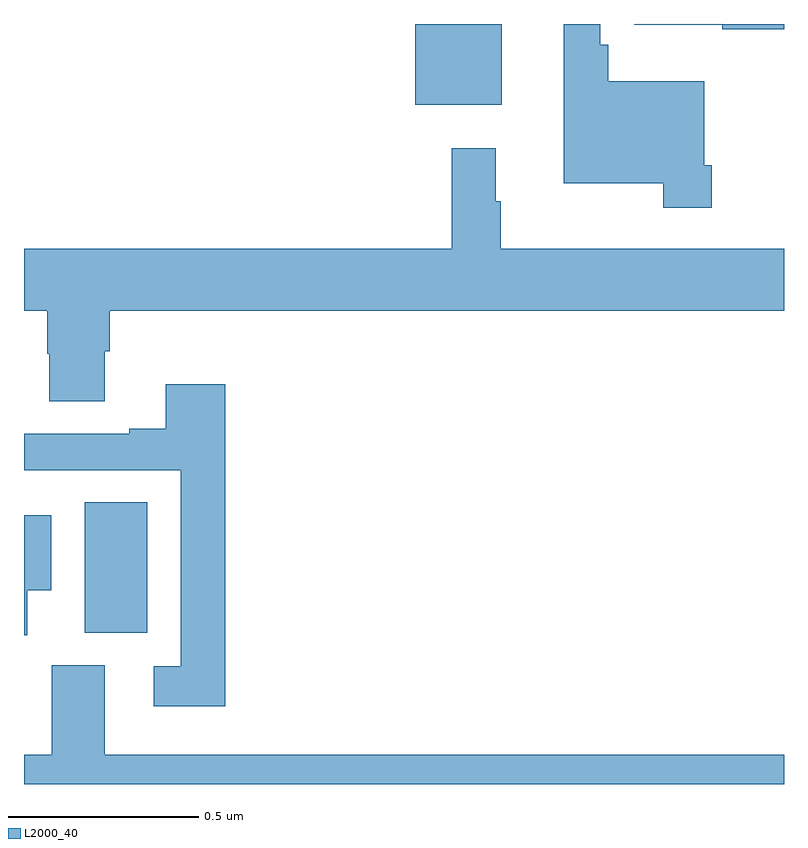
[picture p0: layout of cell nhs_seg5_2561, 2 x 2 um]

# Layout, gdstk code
import gdstk
lib = gdstk.Library(unit=1e-6, precision=1e-09)
def R(c, l, rs):  # rectangles x0, y0, x1, y1
    for r in rs: c.add(gdstk.rectangle(r[:2], r[2:], *l))
def P(c, l, *ps):  # polygons
    for p in ps: c.add(gdstk.Polygon(p, *l))
L2000_40 = (2000, 40)

nhs_seg5_2561 = lib.new_cell('nhs_seg5_2561')
R(nhs_seg5_2561, L2000_40, [(145.16,905.197,145.324,905.54), (146.03,906.587,146.257,906.799)])
P(nhs_seg5_2561, L2000_40, [(147,906.799),(146.606,906.799),(146.606,906.797),(146.838,906.797),(146.838,906.785),(147,906.785)],
  [(146.81,906.427),(146.79,906.427),(146.79,906.649),(146.537,906.649),(146.537,906.745),(146.517,906.745),(146.517,906.799),(146.42,906.799),(146.42,906.38),(146.682,906.38),(146.682,906.315),(146.81,906.315)],
  [(145.213,905.938),(145.226,905.938),(145.226,906.044),(147,906.044),(147,906.208),(146.254,906.208),(146.254,906.332),(146.242,906.332),(146.242,906.472),(146.125,906.472),(146.125,906.208),(145,906.208),(145,906.044),(145.061,906.044),(145.061,905.931),(145.066,905.931),(145.066,905.806),(145.213,905.806)],
  [(145.529,905.851),(145.373,905.851),(145.373,905.734),(145.277,905.734),(145.277,905.721),(145,905.721),(145,905.625),(145.413,905.625),(145.413,905.109),(145.341,905.109),(145.341,905.004),(145.529,905.004)],
  [(145.009,905.309),(145.072,905.309),(145.072,905.506),(145,905.506),(145,905.19),(145.009,905.19)],
  [(147,904.876),(145.213,904.876),(145.213,905.112),(145.073,905.112),(145.073,904.876),(145,904.876),(145,904.799),(147,904.799)])

lib.write_gds('nhs_seg5_2561.gds')
